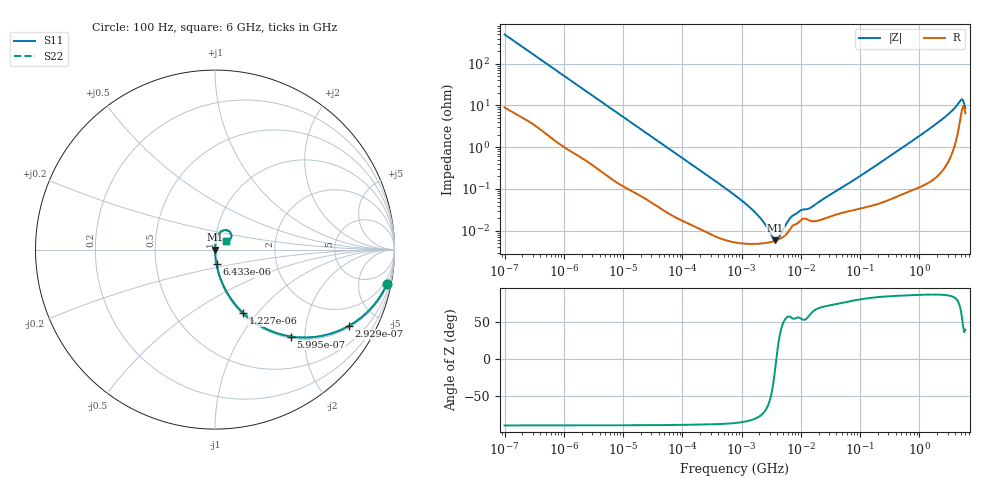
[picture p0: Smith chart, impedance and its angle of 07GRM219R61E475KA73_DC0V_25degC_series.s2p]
!Murata Part Number: GRM219R61E475KA73
!These Parameters are Measured in Series Mode Connection
!  o--ll--o
!Port1  Port2
!  o------o
!Operation Temp=25[degC], DC Bias Voltage=0[V]
!Freq. Start=100[Hz] Stop=6[GHz], 401[Steps]
!Data Generated on Jan 8, 2019
# Hz S RI R 50
!Freq.(Hz) S11(Real) S11(Imag) S21(Real) S21(Imag) S12(Real) S12(Imag) S22(Real) S22(Imag)
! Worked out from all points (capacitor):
!   401 points, 100 Hz to 6 GHz, reference 50 ohm
!   read as one part in series: C = 3.17 uF near 109.4 Hz
!   lowest |Z| = 5.87 mohm at 3.712 MHz (marker M1)
!   series resonance near 3.861 MHz, so ESL is about 540 pH
!   S11 on the Smith chart (normalised r, x): 100 Hz: 1, -10; 292.9 Hz: 1.07, -3.46; 599.5 Hz: 1.03, -1.71; 1.227 kHz: 1.02, -0.84; 6.433 kHz: 1.00, -0.16; 6 GHz: 1.13, +0.11
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100  0.9584 -0.1909  0.0416 0.1909  0.0416 0.1909  0.9584 -0.1909
178.974  0.883 -0.3116  0.117 0.3116  0.117 0.3116  0.883 -0.3116
292.8796  0.7455 -0.4251  0.2545 0.4251  0.2545 0.4251  0.7455 -0.4251
599.5358  0.4238 -0.4843  0.5762 0.4843  0.5762 0.4843  0.4238 -0.4843
1227.273  0.1554 -0.3525  0.8446 0.3525  0.8446 0.3525  0.1554 -0.3525
2008.354  0.0673 -0.2401  0.9327 0.2401  0.9327 0.2401  0.0673 -0.2401
6433.098  0.00838 -0.0813  0.9916 0.0813  0.9916 0.0813  0.00838 -0.0813
40334.87  0.000541 -0.0134  0.9995 0.0134  0.9995 0.0134  0.000541 -0.0134
774596.7  5.28e-05 -0.000702  0.9999 0.000702  0.9999 0.000702  5.28e-05 -0.000702
1658239  4.85e-05 -0.00028  1 0.00028  1 0.00028  4.85e-05 -0.00028
2837864  5.21e-05 -9.26e-05  0.9999 9.26e-05  0.9999 9.26e-05  5.21e-05 -9.26e-05
3712478  5.75e-05 -1.17e-05  0.9999 1.17e-05  0.9999 1.17e-05  5.75e-05 -1.17e-05
4856642  6.89e-05 6.99e-05  0.9999 -6.99e-05  0.9999 -6.99e-05  6.89e-05 6.99e-05
6644369  0.00011 0.00017  0.9999 -0.00017  0.9999 -0.00017  0.00011 0.00017
9506416  0.000166 0.000244  0.9998 -0.000244  0.9998 -0.000244  0.000166 0.000244
1.555665e7  0.000169 0.000336  0.9998 -0.000336  0.9998 -0.000336  0.000169 0.000336
3.124326e8  0.000586 0.00598  0.9994 -0.00598  0.9994 -0.00598  0.000586 0.00598
2.240541e9  0.00412 0.0423  0.9959 -0.0423  0.9959 -0.0423  0.00412 0.0423
3.505958e9  0.0117 0.0711  0.9883 -0.0711  0.9883 -0.0711  0.0117 0.0711
4.796499e9  0.0484 0.1078  0.9516 -0.1078  0.9516 -0.1078  0.0484 0.1078
5.245841e9  0.0834 0.0992  0.9166 -0.0992  0.9166 -0.0992  0.0834 0.0992
6e9  0.0634 0.0475  0.9366 -0.0475  0.9366 -0.0475  0.0634 0.0475
